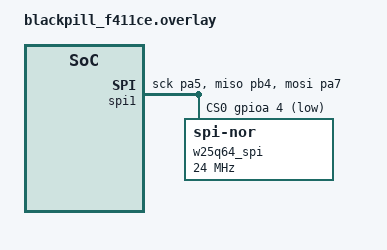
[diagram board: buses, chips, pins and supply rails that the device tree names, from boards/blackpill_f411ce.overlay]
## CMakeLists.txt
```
# SPDX-License-Identifier: Apache-2.0

cmake_minimum_required(VERSION 3.28.0)
find_package(Zephyr REQUIRED HINTS $ENV{ZEPHYR_BASE})
project(spi_flash)

FILE(GLOB app_sources src/*.c)
target_sources(app PRIVATE ${app_sources})
```

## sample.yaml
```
sample:
  name: SPI Flash Sample
common:
  tags:
    - spi
    - flash
  depends_on: spi
tests:
  sample.drivers.spi.flash:
    filter: dt_compat_enabled("jedec,spi-nor") or dt_compat_enabled("st,stm32-qspi-nor")
      or dt_compat_enabled("st,stm32-ospi-nor") or dt_compat_enabled("st,stm32-xspi-nor")
      or dt_compat_enabled("nordic,qspi-nor") or dt_compat_enabled("jedec,mspi-nor")
      or dt_compat_enabled("nxp,xspi-nor")
    platform_exclude:
      - hifive_unmatched/fu740/s7
      - hifive_unmatched/fu740/u74
      - hifive_unmatched/fu740/u74/smp
      - nrf54lm20dk/nrf54lm20a/cpuapp
      - nrf54lm20dk/nrf54lm20b/cpuapp
      - stm32n6570_dk/stm32n657xx/sb
    harness: console
    harness_config:
      type: multi_line
      ordered: true
      regex:
        - "Test 1: Flash erase"
        - "Flash erase succeeded!"
        - "Test 2: Flash write"
        - "Attempting to write 4 bytes"
        - "Data read matches data written. Good!!"
  sample.drivers.spi.flash.stm32.memmap:
    filter: dt_compat_enabled("st,stm32-qspi-nor")
      or dt_compat_enabled("st,stm32-ospi-nor")
      or dt_compat_enabled("st,stm32-xspi-nor")
    integration_platforms:
      - stm32h573i_dk
    extra_configs:
      - CONFIG_STM32_MEMMAP=y
    harness: console
    harness_config:
      type: multi_line
      ordered: true
      regex:
        - "Test 1: Flash erase"
        - "Flash erase succeeded!"
        - "Test 2: Flash write"
        - "Attempting to write 4 bytes"
        - "Data read matches data written. Good!!"
  sample.drivers.spi.flash.nrf54lm20:
    platform_allow:
      - nrf54lm20dk/nrf54lm20a/cpuapp
      - nrf54lm20dk/nrf54lm20b/cpuapp
    integration_platforms:
      - nrf54lm20dk/nrf54lm20a/cpuapp
    harness: console
    harness_config:
      fixture: external_flash
      type: multi_line
      ordered: true
      regex:
        - "Test 1: Flash erase"
        - "Flash erase succeeded!"
        - "Test 2: Flash write"
        - "Attempting to write 4 bytes"
        - "Data read matches data written. Good!!"
```

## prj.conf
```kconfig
CONFIG_STDOUT_CONSOLE=y
CONFIG_FLASH=y
```

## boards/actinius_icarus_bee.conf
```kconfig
#
# Copyright (c) 2021 Actinius
#
# SPDX-License-Identifier: Apache-2.0
#

CONFIG_SPI_NOR=y
```

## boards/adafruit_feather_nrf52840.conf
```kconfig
#
# Copyright (c) 2020 Teslabs Engineering S.L.
#
# SPDX-License-Identifier: Apache-2.0
#

CONFIG_NORDIC_QSPI_NOR=y
```

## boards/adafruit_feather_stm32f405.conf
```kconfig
#
# Copyright (c) 2020 Richard Osterloh <richard.osterloh@gmail.com>
#
# SPDX-License-Identifier: Apache-2.0
#

CONFIG_SPI_NOR=y
```

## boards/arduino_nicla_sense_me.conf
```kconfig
# Copyright (c) 2022 Benjamin Björnsson <benjamin.bjornsson@gmail.com>.

# SPDX-License-Identifier: Apache-2.0

CONFIG_SPI_NOR=y
```

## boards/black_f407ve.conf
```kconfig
# Copyright (c) 2019 Peter Bigot Consulting, LLC
# Copyright (c) 2020 Bjarne Steinsbo

# SPDX-License-Identifier: Apache-2.0

CONFIG_SPI_NOR=y
```

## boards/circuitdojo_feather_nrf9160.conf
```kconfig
#
# Copyright (c) 2020 Circuit Dojo LLC
#
# SPDX-License-Identifier: Apache-2.0
#

CONFIG_SPI_NOR=y
```

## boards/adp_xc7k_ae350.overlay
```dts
/*
 * Copyright (c) 2023 Andes Technology Corporation
 *
 * SPDX-License-Identifier: Apache-2.0
 */

/ {
	aliases {
		spi-flash0 = &mx25u16;
	};
};
```

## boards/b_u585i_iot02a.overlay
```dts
/*
 * Copyright (c) 2022 STMicroelectronics
 *
 * SPDX-License-Identifier: Apache-2.0
 */

&octospi2 {
	/* channel 12-15 are for transfers to/from external memories */
	dmas = <&gpdma1 41 0x10480>; /* request 41 for OCTOSPI2 */
	dma-names = "tx_rx";
};
```

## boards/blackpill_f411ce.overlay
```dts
/*
 * Copyright (c) 2025 Javad Rahimipetroudi <javad.rahimipetroudi@mind.be>
 *
 * SPDX-License-Identifier: Apache-2.0
 */

/* NOTES:
 *  1- BlackPill board may be offered with/without soldered flash chips,
 *  Modify the following configuration based on your chip properties.
 *  2- If you are using V3.1 board, you may need to change miso port. Please
 *  check the schematic before any change.
 */

&spi1 {
	pinctrl-0 = <&spi1_sck_pa5 &spi1_miso_pb4 &spi1_mosi_pa7>;
	pinctrl-names = "default";
	cs-gpios = <&gpioa 4 GPIO_ACTIVE_LOW>;

	status = "okay";

	w25q64_spi: spi-nor-flash@0 {
		compatible = "jedec,spi-nor";
		reg = <0>;
		spi-max-frequency = <24000000>;
		size = <DT_SIZE_M(64)>; /* 64 Mbits */
		jedec-id = [ef 40 17];
		has-dpd;
		t-enter-dpd = <3500>;
		t-exit-dpd = <3500>;
		status = "okay";
	};
};
```

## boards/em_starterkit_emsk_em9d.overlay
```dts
/*
 * Copyright (c) 2023 Synopsys.
 *
 * SPDX-License-Identifier: Apache-2.0
 */

&spi0 {
	cs-gpios = <&creg_gpio 5 GPIO_ACTIVE_HIGH>;
};
```

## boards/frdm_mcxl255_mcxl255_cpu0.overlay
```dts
/*
 * Copyright 2026 NXP
 *
 * SPDX-License-Identifier: Apache-2.0
 */

&pinctrl {
	pinmux_lpspi1_grpB: pinmux_lpspi1_grpB {
		group0 {
			pinmux = <LPSPI1_SDO_P1_8>,
				 <LPSPI1_SCK_P1_9>,
				 <LPSPI1_SDI_P1_6>,
				 <LPSPI1_PCS0_P1_7>;
			drive-strength = "low";
			slew-rate = "fast";
			input-enable;
		};
	};
};

&lpspi1 {
	pinctrl-0 = <&pinmux_lpspi1_grpB>;
	pinctrl-names = "default";

	mx25r4035f: flash@0 {
		compatible = "jedec,spi-nor";
		reg = <0>;
		jedec-id = [c2 28 13];
		size = <DT_SIZE_M(4)>;
		has-dpd;
		t-enter-dpd = <10000>;
		dpd-wakeup-sequence = <30000 20 35000>;
		mxicy,mx25r-power-mode = "low-power";
		spi-max-frequency = <DT_FREQ_M(33)>;
		status = "okay";
	};
};
```

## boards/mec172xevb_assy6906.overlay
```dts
/*
 * Copyright (c) 2022 Microchip Technology Inc.
 *
 * SPDX-License-Identifier: Apache-2.0
 */

&qspi0 {
	compatible = "microchip,xec-qmspi-ldma";
	clock-frequency = <24000000>;

	pinctrl-0 = <&shd_cs0_n_gpio055
		     &shd_clk_gpio056
		     &shd_io0_gpio223
		     &shd_io1_gpio224
		     &shd_io2_gpio227
		     &shd_io3_gpio016>;
	pinctrl-names = "default";
	status = "okay";

	spi1_cs0_flash: w25q128@0 {
		compatible = "jedec,spi-nor";
		reg = <0>;
		/* 134217728 bits = 16 Mbytes */
		size = <0x8000000>;
		spi-max-frequency = <24000000>;
		jedec-id = [ef 40 18];
		status = "okay";
	};
};

&shd_cs0_n_gpio055 {
	drive-open-drain;
	output-high;
};
```

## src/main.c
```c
/*
 * Copyright (c) 2016 Intel Corporation.
 *
 * SPDX-License-Identifier: Apache-2.0
 */

#include <zephyr/kernel.h>
#include <zephyr/drivers/flash.h>
#include <zephyr/device.h>
#include <zephyr/devicetree.h>
#include <stdio.h>
#include <string.h>

#if defined(CONFIG_BOARD_ADAFRUIT_FEATHER_STM32F405)
#define SPI_FLASH_TEST_REGION_OFFSET 0xf000
#elif defined(CONFIG_BOARD_ARTY_A7_DESIGNSTART_FPGA_CORTEX_M1) || \
	defined(CONFIG_BOARD_ARTY_A7_DESIGNSTART_FPGA_CORTEX_M3)
/* The FPGA bitstream is stored in the lower 536 sectors of the flash. */
#define SPI_FLASH_TEST_REGION_OFFSET \
	DT_REG_SIZE(DT_NODE_BY_PARTITION_LABEL(fpga_bitstream))
#elif defined(CONFIG_BOARD_NPCX9M6F_EVB) || \
	defined(CONFIG_BOARD_NPCX7M6FB_EVB)
#define SPI_FLASH_TEST_REGION_OFFSET 0x7F000
#elif defined(CONFIG_BOARD_FRDM_MCXL255)
/* MX25R4035F is 4 Mbit (512 KB); use last 4 KB sector within range */
#define SPI_FLASH_TEST_REGION_OFFSET 0x7F000
#elif defined(CONFIG_BOARD_EK_RA8M1) || defined(CONFIG_BOARD_EK_RA8D1)
#define SPI_FLASH_TEST_REGION_OFFSET 0x40000
#elif DT_HAS_COMPAT_STATUS_OKAY(st_stm32_qspi_nor) && DT_PROP(DT_NODELABEL(quadspi), dual_flash)
#define SPI_FLASH_TEST_REGION_OFFSET 0xfe000
#else
#define SPI_FLASH_TEST_REGION_OFFSET 0xff000
#endif
#if defined(CONFIG_BOARD_EK_RA8M1) || defined(CONFIG_BOARD_EK_RA8D1)
#define SPI_FLASH_SECTOR_SIZE 262144
#elif DT_HAS_COMPAT_STATUS_OKAY(st_stm32_qspi_nor) && DT_PROP(DT_NODELABEL(quadspi), dual_flash)
#define SPI_FLASH_SECTOR_SIZE 8192
#else
#define SPI_FLASH_SECTOR_SIZE        4096
#endif

#if defined(CONFIG_FLASH_STM32_OSPI) || defined(CONFIG_FLASH_STM32_QSPI) ||                        \
	defined(CONFIG_FLASH_STM32_XSPI) || defined(CONFIG_FLASH_RENESAS_RA_OSPI_B) ||             \
	defined(CONFIG_FLASH_RENESAS_RA_QSPI) || defined(CONFIG_FLASH_RENESAS_RZ_QSPI_XSPI) ||     \
	defined(CONFIG_FLASH_RENESAS_RZ_QSPI_SPIBSC) ||                                            \
	defined(CONFIG_FLASH_RENESAS_RZA2M_QSPI_SPIBSC)
#define SPI_FLASH_MULTI_SECTOR_TEST
#endif

#if DT_HAS_COMPAT_STATUS_OKAY(jedec_spi_nor)
#define SPI_FLASH_COMPAT jedec_spi_nor
#elif DT_HAS_COMPAT_STATUS_OKAY(jedec_nor)
#define SPI_FLASH_COMPAT jedec_nor
#elif DT_HAS_COMPAT_STATUS_OKAY(st_stm32_qspi_nor)
#define SPI_FLASH_COMPAT st_stm32_qspi_nor
#elif DT_HAS_COMPAT_STATUS_OKAY(st_stm32_ospi_nor)
#define SPI_FLASH_COMPAT st_stm32_ospi_nor
#elif DT_HAS_COMPAT_STATUS_OKAY(st_stm32_xspi_nor)
#define SPI_FLASH_COMPAT st_stm32_xspi_nor
#elif DT_HAS_COMPAT_STATUS_OKAY(nordic_qspi_nor)
#define SPI_FLASH_COMPAT nordic_qspi_nor
#elif DT_HAS_COMPAT_STATUS_OKAY(renesas_ra_ospi_b_nor)
#define SPI_FLASH_COMPAT renesas_ra_ospi_b_nor
#elif DT_HAS_COMPAT_STATUS_OKAY(renesas_ra_qspi_nor)
#define SPI_FLASH_COMPAT renesas_ra_qspi_nor
#elif DT_HAS_COMPAT_STATUS_OKAY(renesas_rz_qspi_xspi)
#define SPI_FLASH_COMPAT renesas_rz_qspi_xspi
#elif DT_HAS_COMPAT_STATUS_OKAY(renesas_rz_qspi_spibsc)
#define SPI_FLASH_COMPAT renesas_rz_qspi_spibsc
#elif DT_HAS_COMPAT_STATUS_OKAY(renesas_rza2m_qspi_spibsc)
#define SPI_FLASH_COMPAT renesas_rza2m_qspi_spibsc
#elif DT_HAS_COMPAT_STATUS_OKAY(nxp_xspi_nor)
#define SPI_FLASH_COMPAT nxp_xspi_nor
#elif DT_HAS_COMPAT_STATUS_OKAY(nxp_imx_flexspi_nor)
#define SPI_FLASH_COMPAT nxp_imx_flexspi_nor
#else
#define SPI_FLASH_COMPAT invalid
#endif

#if defined(CONFIG_FLASH_RENESAS_RA_OSPI_B)
const uint8_t erased[] = {0xff, 0xff, 0xff, 0xff, 0xff, 0xff, 0xff, 0xff};
#else
const uint8_t erased[] = { 0xff, 0xff, 0xff, 0xff };
#endif

void single_sector_test(const struct device *flash_dev)
{
#if defined(CONFIG_FLASH_RENESAS_RA_OSPI_B)
	const uint8_t expected[] = {0x00, 0x01, 0x02, 0x03, 0x04, 0x05, 0x06, 0x07};
#else
	const uint8_t expected[] = { 0x55, 0xaa, 0x66, 0x99 };
#endif
	const size_t len = sizeof(expected);
	uint8_t buf[sizeof(expected)];
	int rc;

	printf("\nPerform test on single sector");
	/* Write protection needs to be disabled before each write or
	 * erase, since the flash component turns on write protection
	 * automatically after completion of write and erase
	 * operations.
	 */
	printf("\nTest 1: Flash erase\n");

	/* Full flash erase if SPI_FLASH_TEST_REGION_OFFSET = 0 and
	 * SPI_FLASH_SECTOR_SIZE = flash size
	 */
	rc = flash_erase(flash_dev, SPI_FLASH_TEST_REGION_OFFSET,
			 SPI_FLASH_SECTOR_SIZE);
	if (rc != 0) {
		printf("Flash erase failed! %d\n", rc);
	} else {
		/* Check erased pattern */
		memset(buf, 0, len);
		rc = flash_read(flash_dev, SPI_FLASH_TEST_REGION_OFFSET, buf, len);
		if (rc != 0) {
			printf("Flash read failed! %d\n", rc);
			return;
		}
		if (memcmp(erased, buf, len) != 0) {
			printf("Flash erase failed at offset 0x%x got 0x%x\n",
				SPI_FLASH_TEST_REGION_OFFSET, *(uint32_t *)buf);
			return;
		}
		printf("Flash erase succeeded!\n");
	}
	printf("\nTest 2: Flash write\n");

	printf("Attempting to write %zu bytes\n", len);
	rc = flash_write(flash_dev, SPI_FLASH_TEST_REGION_OFFSET, expected, len);
	if (rc != 0) {
		printf("Flash write failed! %d\n", rc);
		return;
	}

	memset(buf, 0, len);
	rc = flash_read(flash_dev, SPI_FLASH_TEST_REGION_OFFSET, buf, len);
	if (rc != 0) {
		printf("Flash read failed! %d\n", rc);
		return;
	}

	if (memcmp(expected, buf, len) == 0) {
		printf("Data read matches data written. Good!!\n");
	} else {
		const uint8_t *wp = expected;
		const uint8_t *rp = buf;
		const uint8_t *rpe = rp + len;

		printf("Data read does not match data written!!\n");
		while (rp < rpe) {
			printf("%08x wrote %02x read %02x %s\n",
			       (uint32_t)(SPI_FLASH_TEST_REGION_OFFSET + (rp - buf)),
			       *wp, *rp, (*rp == *wp) ? "match" : "MISMATCH");
			++rp;
			++wp;
		}
	}
}

#if defined SPI_FLASH_MULTI_SECTOR_TEST
void multi_sector_test(const struct device *flash_dev)
{
#if defined(CONFIG_FLASH_RENESAS_RA_OSPI_B)
	const uint8_t expected[] = {0x00, 0x01, 0x02, 0x03, 0x04, 0x05, 0x06, 0x07};
#else
	const uint8_t expected[] = { 0x55, 0xaa, 0x66, 0x99 };
#endif
	const size_t len = sizeof(expected);
	uint8_t buf[sizeof(expected)];
	int rc;

	printf("\nPerform test on multiple consecutive sectors");

	/* Write protection needs to be disabled before each write or
	 * erase, since the flash component turns on write protection
	 * automatically after completion of write and erase
	 * operations.
	 */
	printf("\nTest 1: Flash erase\n");

	/* Full flash erase if SPI_FLASH_TEST_REGION_OFFSET = 0 and
	 * SPI_FLASH_SECTOR_SIZE = flash size
	 * Erase 2 sectors for check for erase of consecutive sectors
	 */
	rc = flash_erase(flash_dev, SPI_FLASH_TEST_REGION_OFFSET, SPI_FLASH_SECTOR_SIZE * 2);
	if (rc != 0) {
		printf("Flash erase failed! %d\n", rc);
	} else {
		/* Read the content and check for erased */
		memset(buf, 0, len);
		size_t offs = SPI_FLASH_TEST_REGION_OFFSET;

		while (offs < SPI_FLASH_TEST_REGION_OFFSET + 2 * SPI_FLASH_SECTOR_SIZE) {
			rc = flash_read(flash_dev, offs, buf, len);
			if (rc != 0) {
				printf("Flash read failed! %d\n", rc);
				return;
			}
			if (memcmp(erased, buf, len) != 0) {
				printf("Flash erase failed at offset 0x%x got 0x%x\n",
				offs, *(uint32_t *)buf);
				return;
			}
			offs += SPI_FLASH_SECTOR_SIZE;
		}
		printf("Flash erase succeeded!\n");
	}

	printf("\nTest 2: Flash write\n");

	size_t offs = SPI_FLASH_TEST_REGION_OFFSET;

	while (offs < SPI_FLASH_TEST_REGION_OFFSET + 2 * SPI_FLASH_SECTOR_SIZE) {
		printf("Attempting to write %zu bytes at offset 0x%x\n", len, offs);
		rc = flash_write(flash_dev, offs, expected, len);
		if (rc != 0) {
			printf("Flash write failed! %d\n", rc);
			return;
		}

		memset(buf, 0, len);
		rc = flash_read(flash_dev, offs, buf, len);
		if (rc != 0) {
			printf("Flash read failed! %d\n", rc);
			return;
		}

		if (memcmp(expected, buf, len) == 0) {
			printf("Data read matches data written. Good!!\n");
		} else {
			const uint8_t *wp = expected;
			const uint8_t *rp = buf;
			const uint8_t *rpe = rp + len;

			printf("Data read does not match data written!!\n");
			while (rp < rpe) {
				printf("%08x wrote %02x read %02x %s\n",
					(uint32_t)(offs + (rp - buf)),
					*wp, *rp, (*rp == *wp) ? "match" : "MISMATCH");
				++rp;
				++wp;
			}
		}
		offs += SPI_FLASH_SECTOR_SIZE;
	}
}
#endif

int main(void)
{
	const struct device *flash_dev = DEVICE_DT_GET_ONE(SPI_FLASH_COMPAT);

	if (!device_is_ready(flash_dev)) {
		printk("%s: device not ready.\n", flash_dev->name);
		return 0;
	}

	printf("\n%s SPI flash testing\n", flash_dev->name);
	printf("==========================\n");

	single_sector_test(flash_dev);
#if defined SPI_FLASH_MULTI_SECTOR_TEST
	multi_sector_test(flash_dev);
#endif
	return 0;
}
```
